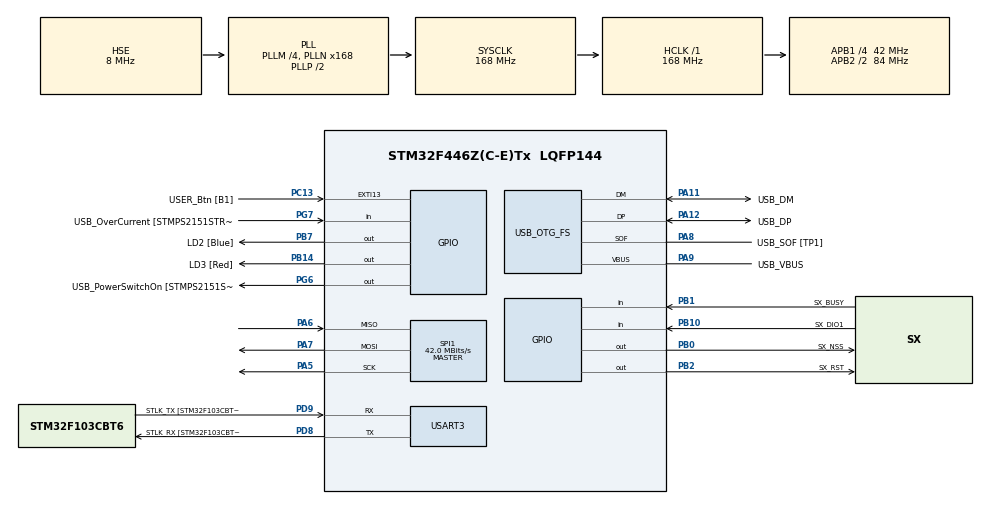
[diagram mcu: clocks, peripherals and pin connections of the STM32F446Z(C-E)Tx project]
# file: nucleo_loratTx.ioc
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Mcu.Family=STM32F4
Mcu.Name=STM32F446Z(C-E)Tx
Mcu.Package=LQFP144
NVIC.PriorityGroup=NVIC_PRIORITYGROUP_4
PA10.GPIO_Label=USB_ID
PA10.Signal=USB_OTG_FS_ID
PA11.GPIO_Label=USB_DM
PA11.Mode=Device_Only
PA11.Signal=USB_OTG_FS_DM
PA12.GPIO_Label=USB_DP
PA12.Mode=Device_Only
PA12.Signal=USB_OTG_FS_DP
PA13.GPIO_Label=TMS
PA13.Mode=Serial_Wire
PA13.Signal=SYS_JTMS-SWDIO
PA14.GPIO_Label=TCK
PA14.Mode=Serial_Wire
PA14.Signal=SYS_JTCK-SWCLK
PA5.Mode=Full_Duplex_Master
PA5.Signal=SPI1_SCK
PA6.Mode=Full_Duplex_Master
PA6.Signal=SPI1_MISO
PA7.Mode=Full_Duplex_Master
PA7.Signal=SPI1_MOSI
PA8.GPIO_Label=USB_SOF [TP1]
PA8.Mode=Activate_SOF_FS
PA8.Signal=USB_OTG_FS_SOF
PA9.GPIO_Label=USB_VBUS
PA9.Mode=Activate_VBUS
PA9.Signal=USB_OTG_FS_VBUS
PB0.GPIO_Label=SX_NSS
PB0.Signal=GPIO_Output
PB1.GPIO_Label=SX_BUSY
PB1.Signal=GPIO_Input
PB10.GPIO_Label=SX_DIO1
PB10.Signal=GPIO_Input
PB14.GPIO_Label=LD3 [Red]
PB14.Signal=GPIO_Output
PB2.GPIO_Label=SX_RST
PB2.Signal=GPIO_Output
PB7.GPIO_Label=LD2 [Blue]
PB7.Signal=GPIO_Output
PC13.GPIO_Label=USER_Btn [B1]
PC13.Signal=GPXTI13
PC14-OSC32_IN.Mode=LSE-External-Oscillator
PC14-OSC32_IN.Signal=RCC_OSC32_IN
PC15-OSC32_OUT.Mode=LSE-External-Oscillator
PC15-OSC32_OUT.Signal=RCC_OSC32_OUT
PD8.GPIO_Label=STLK_RX [STM32F103CBT6_PA3]
PD8.Mode=Asynchronous
PD8.Signal=USART3_TX
PD9.GPIO_Label=STLK_TX [STM32F103CBT6_PA2]
PD9.Mode=Asynchronous
PD9.Signal=USART3_RX
PG6.GPIO_Label=USB_PowerSwitchOn [STMPS2151STR_EN]
PG6.Signal=GPIO_Output
PG7.GPIO_Label=USB_OverCurrent [STMPS2151STR_FAULT]
PG7.Signal=GPIO_Input
PH0-OSC_IN.GPIO_Label=MCO [STM32F103CBT6_PA8]
PH0-OSC_IN.Mode=HSE-External-Clock-Source
PH0-OSC_IN.Signal=RCC_OSC_IN
PH1-OSC_OUT.Mode=HSE-External-Clock-Source
PH1-OSC_OUT.Signal=RCC_OSC_OUT
ProjectManager.HeapSize=0x200
ProjectManager.StackSize=0x400
ProjectManager.TargetToolchain=STM32CubeIDE
RCC.48MHZClocksFreq_Value=24000000
RCC.AHBFreq_Value=168000000
RCC.APB1CLKDivider=RCC_HCLK_DIV4
RCC.APB1Freq_Value=42000000
RCC.APB1TimFreq_Value=84000000
RCC.APB2CLKDivider=RCC_HCLK_DIV2
RCC.APB2Freq_Value=84000000
RCC.APB2TimFreq_Value=168000000
RCC.CortexFreq_Value=168000000
RCC.HCLKFreq_Value=168000000
RCC.HSE_VALUE=8000000
RCC.HSI_VALUE=16000000
RCC.PLLM=4
RCC.PLLMUL=RCC_PLL_MUL9
RCC.PLLN=168
RCC.PLLQ=7
RCC.PRESCALERUSB=RCC_USBCLKSOURCE_PLL_DIV1_5
RCC.SYSCLKFreq_VALUE=168000000
RCC.SYSCLKSource=RCC_SYSCLKSOURCE_PLLCLK
RCC.SYSCLKSourceVirtual=RCC_SYSCLKSOURCE_PLLCLK
RCC.USBFreq_Value=48000000
RCC.VCOOutputFreq_Value=336000000
SPI1.CalculateBaudRate=42.0 MBits/s
SPI1.Direction=SPI_DIRECTION_2LINES
SPI1.Mode=SPI_MODE_MASTER
SPI1.VirtualType=VM_MASTER
USART3.VirtualMode=VM_ASYNC
USB_OTG_FS.VirtualMode=Device_Only
board=NUCLEO-F446ZE

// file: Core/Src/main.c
/* USER CODE BEGIN Header */
/**
  ******************************************************************************
  * @file           : main.c
  * @brief          : Main program body
  ******************************************************************************
  * @attention
  *
  * Copyright (c) 2026 STMicroelectronics.
  * All rights reserved.
  *
  * This software is licensed under terms that can be found in the LICENSE file
  * in the root directory of this software component.
  * If no LICENSE file comes with this software, it is provided AS-IS.
  *
  ******************************************************************************
  */
/* USER CODE END Header */
#include "main.h"

/* USER CODE BEGIN Includes */
#include <string.h>
#include <stdio.h>
/* USER CODE END Includes */

SPI_HandleTypeDef hspi1;

UART_HandleTypeDef huart3;

PCD_HandleTypeDef hpcd_USB_OTG_FS;

void SystemClock_Config(void);
static void MX_GPIO_Init(void);
static void MX_USART3_UART_Init(void);
static void MX_USB_OTG_FS_PCD_Init(void);
static void MX_SPI1_Init(void);

/* USER CODE BEGIN 0 */

// Your configured SPI handle
extern SPI_HandleTypeDef hspi1;

// Helper: Wait until the SX1262 is ready to receive a command
void SX126x_WaitOnBusy(void) {
    // Polls PB1 (SX_BUSY)
    while (HAL_GPIO_ReadPin(SX_BUSY_GPIO_Port, SX_BUSY_Pin) == GPIO_PIN_SET) {
        HAL_Delay(1);
    }
}

// Helper: Send an opcode and data to the SX1262
void SX126x_WriteCommand(uint8_t opcode, uint8_t *buffer, uint16_t size) {
    SX126x_WaitOnBusy();

    // Pull PB0 (NSS) Low to start communication
    HAL_GPIO_WritePin(SX_NSS_GPIO_Port, SX_NSS_Pin, GPIO_PIN_RESET);

    // Transmit the command Opcode via SPI1
    HAL_SPI_Transmit(&hspi1, &opcode, 1, HAL_MAX_DELAY);

    // Transmit payload data if there is any
    if (size > 0) {
        HAL_SPI_Transmit(&hspi1, buffer, size, HAL_MAX_DELAY);
    }

    // Pull PB0 (NSS) High to end communication
    HAL_GPIO_WritePin(SX_NSS_GPIO_Port, SX_NSS_Pin, GPIO_PIN_SET);
}

/* USER CODE END 0 */

int main(void)
{

  /* MCU Configuration--------------------------------------------------------*/

  /* Reset of all peripherals, Initializes the Flash interface and the Systick. */
  HAL_Init();

  /* Configure the system clock */
  SystemClock_Config();

  /* Initialize all configured peripherals */
  MX_GPIO_Init();
  MX_USART3_UART_Init();
  MX_USB_OTG_FS_PCD_Init();
  MX_SPI1_Init();
  /* USER CODE BEGIN 2 */

  // 1. Hardware Reset sequence using PB2
  HAL_GPIO_WritePin(SX_RST_GPIO_Port, SX_RST_Pin, GPIO_PIN_RESET);
  HAL_Delay(20);
  HAL_GPIO_WritePin(SX_RST_GPIO_Port, SX_RST_Pin, GPIO_PIN_SET);
  HAL_Delay(20);

  // Note: You still need an SX1262 library here to configure the
  // LoRa modulation parameters (Frequency, Spreading Factor, etc.)
  // e.g., SX126x_Init();
  //       SX126x_SetLoRaSymbNumTimeout(0);

  uint8_t payload[] = "apple";
  (void)payload;
  /* USER CODE END 2 */

  /* Infinite loop */
  /* USER CODE BEGIN WHILE */
  while (1)
  {
	  // 1. Send a message to CoolTerm (PC) via USB cable
	      char debug_msg[] = "Transmitting 'apple' over LoRa...\r\n";
	      // Note: F446ZE usually uses huart3 for USB. If yours uses huart1, change the 3 to a 1!
	      HAL_UART_Transmit(&huart3, (uint8_t*)debug_msg, strlen(debug_msg), HAL_MAX_DELAY);

	      // 2. Instruct the radio driver to transmit over the air
	      // SX126x_SetTx(payload, strlen((char*)payload));

	      // 3. Toggle your LED
	      HAL_GPIO_TogglePin(GPIOB, GPIO_PIN_0);

	      // Wait 5 seconds
	      HAL_Delay(5000);

    /* USER CODE END WHILE */

  }
}

void SystemClock_Config(void)
{
  RCC_OscInitTypeDef RCC_OscInitStruct = {0};
  RCC_ClkInitTypeDef RCC_ClkInitStruct = {0};

  /** Configure the main internal regulator output voltage
  */
  __HAL_RCC_PWR_CLK_ENABLE();
  __HAL_PWR_VOLTAGESCALING_CONFIG(PWR_REGULATOR_VOLTAGE_SCALE1);

  /** Initializes the RCC Oscillators according to the specified parameters
  * in the RCC_OscInitTypeDef structure.
  */
  RCC_OscInitStruct.OscillatorType = RCC_OSCILLATORTYPE_HSE;
  RCC_OscInitStruct.HSEState = RCC_HSE_BYPASS;
  RCC_OscInitStruct.PLL.PLLState = RCC_PLL_ON;
  RCC_OscInitStruct.PLL.PLLSource = RCC_PLLSOURCE_HSE;
  RCC_OscInitStruct.PLL.PLLM = 4;
  RCC_OscInitStruct.PLL.PLLN = 168;
  RCC_OscInitStruct.PLL.PLLP = RCC_PLLP_DIV2;
  RCC_OscInitStruct.PLL.PLLQ = 7;
  RCC_OscInitStruct.PLL.PLLR = 2;
  if (HAL_RCC_OscConfig(&RCC_OscInitStruct) != HAL_OK)
  {
    Error_Handler();
  }

  /** Initializes the CPU, AHB and APB buses clocks
  */
  RCC_ClkInitStruct.ClockType = RCC_CLOCKTYPE_HCLK|RCC_CLOCKTYPE_SYSCLK
                              |RCC_CLOCKTYPE_PCLK1|RCC_CLOCKTYPE_PCLK2;
  RCC_ClkInitStruct.SYSCLKSource = RCC_SYSCLKSOURCE_PLLCLK;
  RCC_ClkInitStruct.AHBCLKDivider = RCC_SYSCLK_DIV1;
  RCC_ClkInitStruct.APB1CLKDivider = RCC_HCLK_DIV4;
  RCC_ClkInitStruct.APB2CLKDivider = RCC_HCLK_DIV2;

  if (HAL_RCC_ClockConfig(&RCC_ClkInitStruct, FLASH_LATENCY_5) != HAL_OK)
  {
    Error_Handler();
  }
}

static void MX_SPI1_Init(void)
{

  /* SPI1 parameter configuration*/
  hspi1.Instance = SPI1;
  hspi1.Init.Mode = SPI_MODE_MASTER;
  hspi1.Init.Direction = SPI_DIRECTION_2LINES;
  hspi1.Init.DataSize = SPI_DATASIZE_8BIT;
  hspi1.Init.CLKPolarity = SPI_POLARITY_LOW;
  hspi1.Init.CLKPhase = SPI_PHASE_1EDGE;
  hspi1.Init.NSS = SPI_NSS_SOFT;
  hspi1.Init.BaudRatePrescaler = SPI_BAUDRATEPRESCALER_2;
  hspi1.Init.FirstBit = SPI_FIRSTBIT_MSB;
  hspi1.Init.TIMode = SPI_TIMODE_DISABLE;
  hspi1.Init.CRCCalculation = SPI_CRCCALCULATION_DISABLE;
  hspi1.Init.CRCPolynomial = 10;
  if (HAL_SPI_Init(&hspi1) != HAL_OK)
  {
    Error_Handler();
  }

}

static void MX_USART3_UART_Init(void)
{

  huart3.Instance = USART3;
  huart3.Init.BaudRate = 115200;
  huart3.Init.WordLength = UART_WORDLENGTH_8B;
  huart3.Init.StopBits = UART_STOPBITS_1;
  huart3.Init.Parity = UART_PARITY_NONE;
  huart3.Init.Mode = UART_MODE_TX_RX;
  huart3.Init.HwFlowCtl = UART_HWCONTROL_NONE;
  huart3.Init.OverSampling = UART_OVERSAMPLING_16;
  if (HAL_UART_Init(&huart3) != HAL_OK)
  {
    Error_Handler();
  }

}

static void MX_USB_OTG_FS_PCD_Init(void)
{

  hpcd_USB_OTG_FS.Instance = USB_OTG_FS;
  hpcd_USB_OTG_FS.Init.dev_endpoints = 6;
  hpcd_USB_OTG_FS.Init.speed = PCD_SPEED_FULL;
  hpcd_USB_OTG_FS.Init.dma_enable = DISABLE;
  hpcd_USB_OTG_FS.Init.phy_itface = PCD_PHY_EMBEDDED;
  hpcd_USB_OTG_FS.Init.Sof_enable = ENABLE;
  hpcd_USB_OTG_FS.Init.low_power_enable = DISABLE;
  hpcd_USB_OTG_FS.Init.lpm_enable = DISABLE;
  hpcd_USB_OTG_FS.Init.vbus_sensing_enable = ENABLE;
  hpcd_USB_OTG_FS.Init.use_dedicated_ep1 = DISABLE;
  if (HAL_PCD_Init(&hpcd_USB_OTG_FS) != HAL_OK)
  {
    Error_Handler();
  }

}

static void MX_GPIO_Init(void)
{
  GPIO_InitTypeDef GPIO_InitStruct = {0};

  /* GPIO Ports Clock Enable */
  __HAL_RCC_GPIOC_CLK_ENABLE();
  __HAL_RCC_GPIOH_CLK_ENABLE();
  __HAL_RCC_GPIOA_CLK_ENABLE();
  __HAL_RCC_GPIOB_CLK_ENABLE();
  __HAL_RCC_GPIOD_CLK_ENABLE();
  __HAL_RCC_GPIOG_CLK_ENABLE();

  /*Configure GPIO pin Output Level */
  HAL_GPIO_WritePin(GPIOB, SX_NSS_Pin|SX_RST_Pin|LD3_Pin|LD2_Pin, GPIO_PIN_RESET);

  /*Configure GPIO pin Output Level */
  HAL_GPIO_WritePin(USB_PowerSwitchOn_GPIO_Port, USB_PowerSwitchOn_Pin, GPIO_PIN_RESET);

  /*Configure GPIO pin : USER_Btn_Pin */
  GPIO_InitStruct.Pin = USER_Btn_Pin;
  GPIO_InitStruct.Mode = GPIO_MODE_IT_RISING;
  GPIO_InitStruct.Pull = GPIO_NOPULL;
  HAL_GPIO_Init(USER_Btn_GPIO_Port, &GPIO_InitStruct);

  /*Configure GPIO pins : SX_NSS_Pin SX_RST_Pin LD3_Pin LD2_Pin */
  GPIO_InitStruct.Pin = SX_NSS_Pin|SX_RST_Pin|LD3_Pin|LD2_Pin;
  GPIO_InitStruct.Mode = GPIO_MODE_OUTPUT_PP;
  GPIO_InitStruct.Pull = GPIO_NOPULL;
  GPIO_InitStruct.Speed = GPIO_SPEED_FREQ_LOW;
  HAL_GPIO_Init(GPIOB, &GPIO_InitStruct);

  /*Configure GPIO pins : SX_BUSY_Pin SX_DIO1_Pin */
  GPIO_InitStruct.Pin = SX_BUSY_Pin|SX_DIO1_Pin;
  GPIO_InitStruct.Mode = GPIO_MODE_INPUT;
  GPIO_InitStruct.Pull = GPIO_NOPULL;
  HAL_GPIO_Init(GPIOB, &GPIO_InitStruct);

  /*Configure GPIO pin : USB_PowerSwitchOn_Pin */
  GPIO_InitStruct.Pin = USB_PowerSwitchOn_Pin;
  GPIO_InitStruct.Mode = GPIO_MODE_OUTPUT_PP;
  GPIO_InitStruct.Pull = GPIO_NOPULL;
  GPIO_InitStruct.Speed = GPIO_SPEED_FREQ_LOW;
  HAL_GPIO_Init(USB_PowerSwitchOn_GPIO_Port, &GPIO_InitStruct);

  /*Configure GPIO pin : USB_OverCurrent_Pin */
  GPIO_InitStruct.Pin = USB_OverCurrent_Pin;
  GPIO_InitStruct.Mode = GPIO_MODE_INPUT;
  GPIO_InitStruct.Pull = GPIO_NOPULL;
  HAL_GPIO_Init(USB_OverCurrent_GPIO_Port, &GPIO_InitStruct);

}

void Error_Handler(void)
{
  __disable_irq();
  while (1)
  {
  }
}
